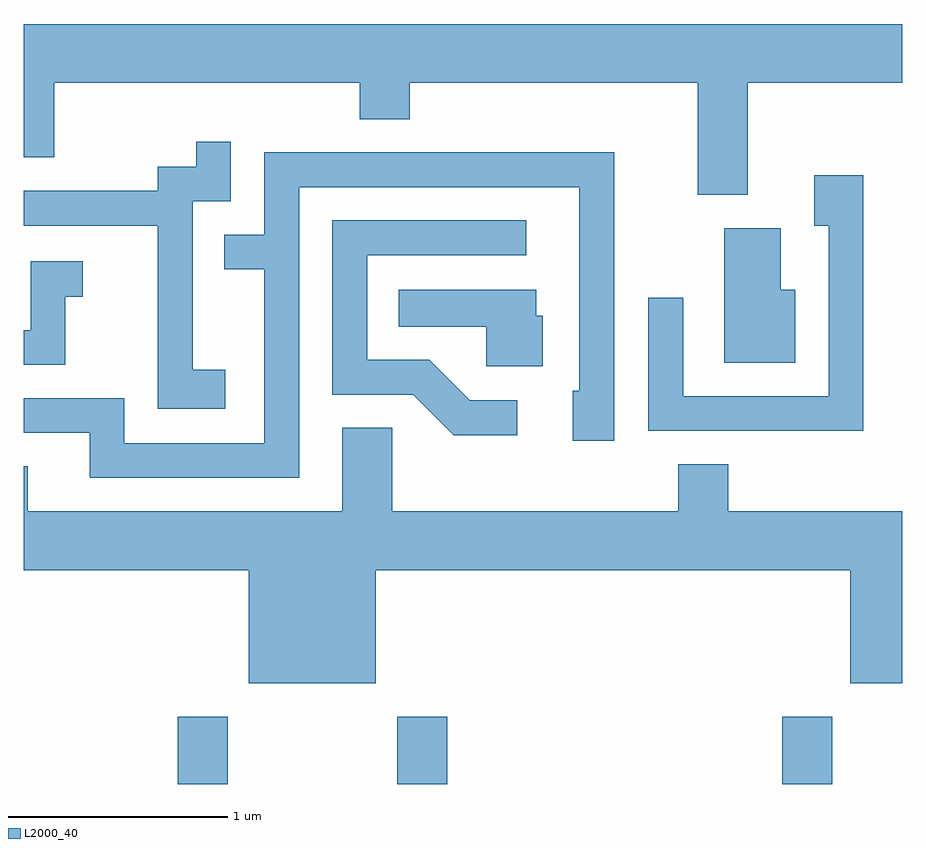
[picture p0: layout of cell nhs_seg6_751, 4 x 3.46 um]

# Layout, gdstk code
import gdstk
lib = gdstk.Library(unit=1e-6, precision=1e-09)
def R(c, l, rs):  # rectangles x0, y0, x1, y1
    for r in rs: c.add(gdstk.rectangle(r[:2], r[2:], *l))
def P(c, l, *ps):  # polygons
    for p in ps: c.add(gdstk.Polygon(p, *l))
L2000_40 = (2000, 40)

nhs_seg6_751 = lib.new_cell('nhs_seg6_751')
R(nhs_seg6_751, L2000_40, [(208.311,1560.162,208.539,1560.469), (209.311,1560.162,209.539,1560.469), (211.066,1560.162,211.294,1560.469)])
P(nhs_seg6_751, L2000_40, [(210.909,1563.356),(211.611,1563.356),(211.611,1563.624),(207.611,1563.624),(207.611,1563.016),(207.749,1563.016),(207.749,1563.356),(209.141,1563.356),(209.141,1563.191),(209.369,1563.191),(209.369,1563.356),(210.681,1563.356),(210.681,1562.846),(210.909,1562.846)],
  [(208.529,1562.049),(208.379,1562.049),(208.379,1562.816),(208.554,1562.816),(208.554,1563.088),(208.396,1563.088),(208.396,1562.974),(208.221,1562.974),(208.221,1562.864),(207.611,1562.864),(207.611,1562.706),(208.221,1562.706),(208.221,1561.871),(208.529,1561.871)],
  [(208.864,1562.881),(210.141,1562.881),(210.141,1561.954),(210.111,1561.954),(210.111,1561.726),(210.299,1561.726),(210.299,1563.039),(208.706,1563.039),(208.706,1562.664),(208.523,1562.664),(208.523,1562.506),(208.706,1562.506),(208.706,1561.714),(208.069,1561.714),(208.069,1561.919),(207.611,1561.919),(207.611,1561.761),(207.911,1561.761),(207.911,1561.556),(208.864,1561.556)],
  [(211.434,1562.934),(211.211,1562.934),(211.211,1562.706),(211.276,1562.706),(211.276,1561.929),(210.614,1561.929),(210.614,1562.378),(210.456,1562.378),(210.456,1561.771),(211.434,1561.771)],
  [(209.858,1561.909),(209.642,1561.909),(209.457,1562.094),(209.174,1562.094),(209.174,1562.571),(209.898,1562.571),(209.898,1562.729),(209.016,1562.729),(209.016,1561.936),(209.384,1561.936),(209.569,1561.751),(209.858,1561.751)],
  [(211.124,1562.414),(211.059,1562.414),(211.059,1562.694),(210.801,1562.694),(210.801,1562.081),(211.124,1562.081)],
  [(207.799,1562.381),(207.878,1562.381),(207.878,1562.544),(207.641,1562.544),(207.641,1562.229),(207.611,1562.229),(207.611,1562.071),(207.799,1562.071)],
  [(209.974,1562.294),(209.944,1562.294),(209.944,1562.414),(209.318,1562.414),(209.318,1562.246),(209.716,1562.246),(209.716,1562.066),(209.974,1562.066)],
  [(209.214,1561.136),(211.376,1561.136),(211.376,1560.621),(211.611,1560.621),(211.611,1561.404),(210.819,1561.404),(210.819,1561.619),(210.591,1561.619),(210.591,1561.404),(209.289,1561.404),(209.289,1561.784),(209.061,1561.784),(209.061,1561.404),(207.629,1561.404),(207.629,1561.609),(207.611,1561.609),(207.611,1561.136),(208.636,1561.136),(208.636,1560.621),(209.214,1560.621)])

lib.write_gds('nhs_seg6_751.gds')
